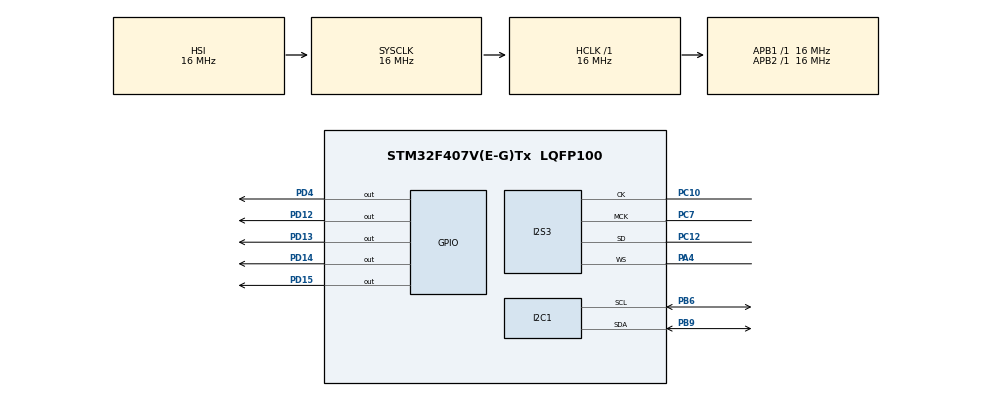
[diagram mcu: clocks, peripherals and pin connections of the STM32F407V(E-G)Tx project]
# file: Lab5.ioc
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Dma.Request0=SPI3_TX
Dma.SPI3_TX.0.Direction=DMA_MEMORY_TO_PERIPH
Dma.SPI3_TX.0.FIFOMode=DMA_FIFOMODE_ENABLE
Dma.SPI3_TX.0.FIFOThreshold=DMA_FIFO_THRESHOLD_FULL
Dma.SPI3_TX.0.Instance=DMA1_Stream5
Dma.SPI3_TX.0.MemBurst=DMA_MBURST_SINGLE
Dma.SPI3_TX.0.MemDataAlignment=DMA_MDATAALIGN_HALFWORD
Dma.SPI3_TX.0.MemInc=DMA_MINC_ENABLE
Dma.SPI3_TX.0.Mode=DMA_CIRCULAR
Dma.SPI3_TX.0.PeriphBurst=DMA_PBURST_SINGLE
Dma.SPI3_TX.0.PeriphDataAlignment=DMA_PDATAALIGN_HALFWORD
Dma.SPI3_TX.0.PeriphInc=DMA_PINC_DISABLE
Dma.SPI3_TX.0.Priority=DMA_PRIORITY_LOW
I2S3.AudioFreq=I2S_AUDIOFREQ_48K
I2S3.ErrorAudioFreq=-2.34 %
I2S3.FullDuplexMode=I2S_FULLDUPLEXMODE_DISABLE
I2S3.Instance=SPI$Index
I2S3.RealAudioFreq=46.875 KHz
I2S3.VirtualMode=I2S_MODE_MASTER
Mcu.Family=STM32F4
Mcu.Name=STM32F407V(E-G)Tx
Mcu.Package=LQFP100
NVIC.DMA1_Stream5_IRQn=true\:0\:0\:false\:false\:true\:false\:true\:true
NVIC.PriorityGroup=NVIC_PRIORITYGROUP_4
PA4.Mode=Half_Duplex_Master
PA4.Signal=I2S3_WS
PB6.Mode=I2C
PB6.Signal=I2C1_SCL
PB9.Mode=I2C
PB9.Signal=I2C1_SDA
PC10.Mode=Half_Duplex_Master
PC10.Signal=I2S3_CK
PC12.Mode=Half_Duplex_Master
PC12.Signal=I2S3_SD
PC7.Mode=Master_Clock_Activated
PC7.Signal=I2S3_MCK
PD12.Signal=GPIO_Output
PD13.Signal=GPIO_Output
PD14.Signal=GPIO_Output
PD15.Signal=GPIO_Output
PD4.Signal=GPIO_Output
ProjectManager.HeapSize=0x200
ProjectManager.StackSize=0x400
ProjectManager.TargetToolchain=STM32CubeIDE
RCC.AHBFreq_Value=16000000
RCC.APB1Freq_Value=16000000
RCC.APB2Freq_Value=16000000
RCC.CortexFreq_Value=16000000
RCC.HSE_VALUE=25000000
RCC.HSI_VALUE=16000000
RCC.LSE_VALUE=32768
RCC.SYSCLKFreq_VALUE=16000000
RCC.VCOOutputFreq_Value=192000000
board=custom

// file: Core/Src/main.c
/* USER CODE BEGIN Header */
/**
  ******************************************************************************
  * @file           : main.c
  * @brief          : Main program body
  ******************************************************************************
  * @attention
  *
  * Copyright (c) 2024 STMicroelectronics.
  * All rights reserved.
  *
  * This software is licensed under terms that can be found in the LICENSE file
  * in the root directory of this software component.
  * If no LICENSE file comes with this software, it is provided AS-IS.
  *
  ******************************************************************************
  */
/* USER CODE END Header */
#include "main.h"

/* USER CODE BEGIN PTD */
typedef enum
{
	C4,
	C5,
	D5,
	E5,
	F5,
	G5,
	A5,
	B5,
	C6,
	D6,
	E6,
	F6,
	G6,
	A6,
	B6,
	C7
} soundToneType;
/* USER CODE END PTD */

/* USER CODE BEGIN PD */
#define CS43L22_I2C_ADDRESS		0x94
#define I2C_TIMEOUT				10

#define LED1 GPIO_PIN_12
#define LED2 GPIO_PIN_13
#define LED3 GPIO_PIN_14
#define LED4 GPIO_PIN_15
/* USER CODE END PD */

I2C_HandleTypeDef hi2c1;

I2S_HandleTypeDef hi2s3;
DMA_HandleTypeDef hdma_spi3_tx;

/* USER CODE BEGIN PV */
int16_t dataI2S[100] = {0};
/* USER CODE END PV */

void SystemClock_Config(void);
static void MX_GPIO_Init(void);
static void MX_DMA_Init(void);
static void MX_I2C1_Init(void);
static void MX_I2S3_Init(void);

/* USER CODE BEGIN 0 */
void set_led(uint16_t led)
{
	HAL_GPIO_WritePin(GPIOD, led, GPIO_PIN_SET);
}

void reset_led(uint16_t led)
{
	HAL_GPIO_WritePin(GPIOD, led, GPIO_PIN_RESET);
}

void CS43L22_Init(void)
{
	// Enable chip
	HAL_GPIO_WritePin(GPIOD, GPIO_PIN_4, GPIO_PIN_SET);

	//
	// Initialization
	//
	uint8_t TxBuffer[2];

	TxBuffer[0] = 0x0D;
	TxBuffer[1] = 0x01;
	HAL_I2C_Master_Transmit(&hi2c1, CS43L22_I2C_ADDRESS, (uint8_t*) &TxBuffer, 2, I2C_TIMEOUT);

	TxBuffer[0] = 0x00;
	TxBuffer[1] = 0x99;
	HAL_I2C_Master_Transmit(&hi2c1, CS43L22_I2C_ADDRESS, (uint8_t*) &TxBuffer, 2, I2C_TIMEOUT);

	TxBuffer[0] = 0x47;
	TxBuffer[1] = 0x80;
	HAL_I2C_Master_Transmit(&hi2c1, CS43L22_I2C_ADDRESS, (uint8_t*) &TxBuffer, 2, I2C_TIMEOUT);

	TxBuffer[0] = 0x32;
	TxBuffer[1] = 0xFF;
	HAL_I2C_Master_Transmit(&hi2c1, CS43L22_I2C_ADDRESS, (uint8_t*) &TxBuffer, 2, I2C_TIMEOUT);

	TxBuffer[0] = 0x32;
	TxBuffer[1] = 0x7F;
	HAL_I2C_Master_Transmit(&hi2c1, CS43L22_I2C_ADDRESS, (uint8_t*) &TxBuffer, 2, I2C_TIMEOUT);

	TxBuffer[0] = 0x00;
	TxBuffer[1] = 0x00;
	HAL_I2C_Master_Transmit(&hi2c1, CS43L22_I2C_ADDRESS, (uint8_t*) &TxBuffer, 2, I2C_TIMEOUT);

	TxBuffer[0] = 0x04;
	TxBuffer[1] = 0xAF;
	HAL_I2C_Master_Transmit(&hi2c1, CS43L22_I2C_ADDRESS, (uint8_t*) &TxBuffer, 2, I2C_TIMEOUT);

	TxBuffer[0] = 0x0D;
	TxBuffer[1] = 0x70;
	HAL_I2C_Master_Transmit(&hi2c1, CS43L22_I2C_ADDRESS, (uint8_t*) &TxBuffer, 2, I2C_TIMEOUT);

	TxBuffer[0] = 0x05;
	TxBuffer[1] = 0x81;
	HAL_I2C_Master_Transmit(&hi2c1, CS43L22_I2C_ADDRESS, (uint8_t*) &TxBuffer, 2, I2C_TIMEOUT);

	TxBuffer[0] = 0x06;
	TxBuffer[1] = 0x07;
	HAL_I2C_Master_Transmit(&hi2c1, CS43L22_I2C_ADDRESS, (uint8_t*) &TxBuffer, 2, I2C_TIMEOUT);

	TxBuffer[0] = 0x0A;
	TxBuffer[1] = 0x00;
	HAL_I2C_Master_Transmit(&hi2c1, CS43L22_I2C_ADDRESS, (uint8_t*) &TxBuffer, 2, I2C_TIMEOUT);

	TxBuffer[0] = 0x27;
	TxBuffer[1] = 0x00;
	HAL_I2C_Master_Transmit(&hi2c1, CS43L22_I2C_ADDRESS, (uint8_t*) &TxBuffer, 2, I2C_TIMEOUT);

	TxBuffer[0] = 0x1A;
	TxBuffer[1] = 0x0A;
	HAL_I2C_Master_Transmit(&hi2c1, CS43L22_I2C_ADDRESS, (uint8_t*) &TxBuffer, 2, I2C_TIMEOUT);

	TxBuffer[0] = 0x1B;
	TxBuffer[1] = 0x0A;
	HAL_I2C_Master_Transmit(&hi2c1, CS43L22_I2C_ADDRESS, (uint8_t*) &TxBuffer, 2, I2C_TIMEOUT);

	TxBuffer[0] = 0x1F;
	TxBuffer[1] = 0x0F;
	HAL_I2C_Master_Transmit(&hi2c1, CS43L22_I2C_ADDRESS, (uint8_t*) &TxBuffer, 2, I2C_TIMEOUT);

	TxBuffer[0] = 0x02;
	TxBuffer[1] = 0x9E;
	HAL_I2C_Master_Transmit(&hi2c1, CS43L22_I2C_ADDRESS, (uint8_t*) &TxBuffer, 2, I2C_TIMEOUT);
}

void CS43L22_Beep(soundToneType pitch, uint32_t duration_ms)
{
	uint8_t TxBuffer[2];

	// Set volume and off time
	TxBuffer[0] = 0x1D;		// Register address
	TxBuffer[1] = 0x00;		// Value (volume and off time)
	HAL_I2C_Master_Transmit(&hi2c1, CS43L22_I2C_ADDRESS, (uint8_t*) &TxBuffer, 2, I2C_TIMEOUT);

	// Set sound frequency
	TxBuffer[0] = 0x1C;		// Register address
	switch (pitch)
	{
		case C4:
			TxBuffer[1] = 0x00;		// Value (frequency and on time)
			break;
		case C5:
			TxBuffer[1] = 0x01;
			break;
		case D5:
			TxBuffer[1] = 0x02;
			break;
		case E5:
			TxBuffer[1] = 0x03;		// Value (frequency and on time)
			break;
		case F5:
			TxBuffer[1] = 0x04;
			break;
		case G5:
			TxBuffer[1] = 0x05;
			break;
		case A5:
			TxBuffer[1] = 0x06;		// Value (frequency and on time)
			break;
		case B5:
			TxBuffer[1] = 0x07;
			break;
		case C6:
			TxBuffer[1] = 0x08;
			break;
		case D6:
			TxBuffer[1] = 0x09;		// Value (frequency and on time)
			break;
		case E6:
			TxBuffer[1] = 0x0A;
			break;
		case F6:
			TxBuffer[1] = 0x0B;
			break;
		case G6:
			TxBuffer[1] = 0x0C;
			break;
		case A6:
			TxBuffer[1] = 0x0D;		// Value (frequency and on time)
			break;
		case B6:
			TxBuffer[1] = 0x0E;
			break;
		case C7:
			TxBuffer[1] = 0x0F;
			break;
	}
	HAL_I2C_Master_Transmit(&hi2c1, CS43L22_I2C_ADDRESS, (uint8_t*) &TxBuffer, 2, I2C_TIMEOUT);

	// Enable continuous mode (SOUND STARTED)
	TxBuffer[0] = 0x1E;		// Register address
	TxBuffer[1] = 0xC0;		// Value (beep and tone configuration)
	HAL_I2C_Master_Transmit(&hi2c1, CS43L22_I2C_ADDRESS, (uint8_t*) &TxBuffer, 2, I2C_TIMEOUT);

	// Playing...
	HAL_Delay(duration_ms);

	// Disable continuous mode (SOUND STOPED)
	TxBuffer[0] = 0x1E;		// Register address
	TxBuffer[1] = 0x00;		// Value (beep and tone configuration)
	HAL_I2C_Master_Transmit(&hi2c1, CS43L22_I2C_ADDRESS, (uint8_t*) &TxBuffer, 2, I2C_TIMEOUT);
}
/* USER CODE END 0 */

int main(void)
{

  /* USER CODE BEGIN 1 */
	uint16_t leds[] = {LED1, LED2, LED3, LED4};
	soundToneType melody[] = {
			E5, E5, E5, E5, E5, E5, E5, G5, C5, D5, E5,
			F5, F5, F5, F5, F5, E5, E5, E5, E5, E5, D5, D5, E5, D5, G5
	};

	uint16_t noteDurations[] = {
	    200, 200, 400, 200, 200, 400, 200, 200, 200, 200, 400,
	    200, 200, 200, 200, 400, 200, 200, 200, 200, 200, 200, 200, 200, 200, 400
	};
  /* USER CODE END 1 */

  /* MCU Configuration--------------------------------------------------------*/

  /* Reset of all peripherals, Initializes the Flash interface and the Systick. */
  HAL_Init();

  /* Configure the system clock */
  SystemClock_Config();

  /* Initialize all configured peripherals */
  MX_GPIO_Init();
  MX_DMA_Init();
  MX_I2C1_Init();
  MX_I2S3_Init();
  /* USER CODE BEGIN 2 */
  CS43L22_Init();

  HAL_I2S_Transmit_DMA(&hi2s3, (uint16_t *)dataI2S, 100);
  /* USER CODE END 2 */

  /* Infinite loop */
  /* USER CODE BEGIN WHILE */
  while (1)
  {
	  int l = 0;
	  for(int n = 0; n<sizeof(melody)/sizeof(melody[0]); n++){
		  l = l>3 ? 0 : l;

		  set_led(leds[l]);
		  CS43L22_Beep(melody[n], noteDurations[n]);
		  HAL_Delay(noteDurations[n]);
		  reset_led(leds[l]);
		  l++;
	  }

	  set_led(LED1);
	  set_led(LED3);
	  set_led(LED2);
	  set_led(LED4);

	  HAL_Delay(1000);
	  reset_led(LED1);
	  reset_led(LED3);
	  reset_led(LED2);
	  reset_led(LED4);

    /* USER CODE END WHILE */

  }
}

void SystemClock_Config(void)
{
  RCC_OscInitTypeDef RCC_OscInitStruct = {0};
  RCC_ClkInitTypeDef RCC_ClkInitStruct = {0};

  /** Macro to configure the PLL multiplication factor
  */
  __HAL_RCC_PLL_PLLM_CONFIG(16);

  /** Macro to configure the PLL clock source
  */
  __HAL_RCC_PLL_PLLSOURCE_CONFIG(RCC_PLLSOURCE_HSI);

  /** Configure the main internal regulator output voltage
  */
  __HAL_RCC_PWR_CLK_ENABLE();
  __HAL_PWR_VOLTAGESCALING_CONFIG(PWR_REGULATOR_VOLTAGE_SCALE1);

  /** Initializes the RCC Oscillators according to the specified parameters
  * in the RCC_OscInitTypeDef structure.
  */
  RCC_OscInitStruct.OscillatorType = RCC_OSCILLATORTYPE_HSI;
  RCC_OscInitStruct.HSIState = RCC_HSI_ON;
  RCC_OscInitStruct.HSICalibrationValue = RCC_HSICALIBRATION_DEFAULT;
  RCC_OscInitStruct.PLL.PLLState = RCC_PLL_NONE;
  RCC_OscInitStruct.PLL.PLLSource = RCC_PLLSOURCE_HSI;
  if (HAL_RCC_OscConfig(&RCC_OscInitStruct) != HAL_OK)
  {
    Error_Handler();
  }

  /** Initializes the CPU, AHB and APB buses clocks
  */
  RCC_ClkInitStruct.ClockType = RCC_CLOCKTYPE_HCLK|RCC_CLOCKTYPE_SYSCLK
                              |RCC_CLOCKTYPE_PCLK1|RCC_CLOCKTYPE_PCLK2;
  RCC_ClkInitStruct.SYSCLKSource = RCC_SYSCLKSOURCE_HSI;
  RCC_ClkInitStruct.AHBCLKDivider = RCC_SYSCLK_DIV1;
  RCC_ClkInitStruct.APB1CLKDivider = RCC_HCLK_DIV1;
  RCC_ClkInitStruct.APB2CLKDivider = RCC_HCLK_DIV1;

  if (HAL_RCC_ClockConfig(&RCC_ClkInitStruct, FLASH_LATENCY_0) != HAL_OK)
  {
    Error_Handler();
  }
}

static void MX_I2C1_Init(void)
{

  hi2c1.Instance = I2C1;
  hi2c1.Init.ClockSpeed = 100000;
  hi2c1.Init.DutyCycle = I2C_DUTYCYCLE_2;
  hi2c1.Init.OwnAddress1 = 0;
  hi2c1.Init.AddressingMode = I2C_ADDRESSINGMODE_7BIT;
  hi2c1.Init.DualAddressMode = I2C_DUALADDRESS_DISABLE;
  hi2c1.Init.OwnAddress2 = 0;
  hi2c1.Init.GeneralCallMode = I2C_GENERALCALL_DISABLE;
  hi2c1.Init.NoStretchMode = I2C_NOSTRETCH_DISABLE;
  if (HAL_I2C_Init(&hi2c1) != HAL_OK)
  {
    Error_Handler();
  }

}

static void MX_I2S3_Init(void)
{

  hi2s3.Instance = SPI3;
  hi2s3.Init.Mode = I2S_MODE_MASTER_TX;
  hi2s3.Init.Standard = I2S_STANDARD_PHILIPS;
  hi2s3.Init.DataFormat = I2S_DATAFORMAT_16B;
  hi2s3.Init.MCLKOutput = I2S_MCLKOUTPUT_ENABLE;
  hi2s3.Init.AudioFreq = I2S_AUDIOFREQ_48K;
  hi2s3.Init.CPOL = I2S_CPOL_LOW;
  hi2s3.Init.ClockSource = I2S_CLOCK_PLL;
  hi2s3.Init.FullDuplexMode = I2S_FULLDUPLEXMODE_DISABLE;
  if (HAL_I2S_Init(&hi2s3) != HAL_OK)
  {
    Error_Handler();
  }

}

static void MX_DMA_Init(void)
{

  /* DMA controller clock enable */
  __HAL_RCC_DMA1_CLK_ENABLE();

  /* DMA interrupt init */
  /* DMA1_Stream5_IRQn interrupt configuration */
  HAL_NVIC_SetPriority(DMA1_Stream5_IRQn, 0, 0);
  HAL_NVIC_EnableIRQ(DMA1_Stream5_IRQn);

}

static void MX_GPIO_Init(void)
{
  GPIO_InitTypeDef GPIO_InitStruct = {0};

  /* GPIO Ports Clock Enable */
  __HAL_RCC_GPIOA_CLK_ENABLE();
  __HAL_RCC_GPIOD_CLK_ENABLE();
  __HAL_RCC_GPIOC_CLK_ENABLE();
  __HAL_RCC_GPIOB_CLK_ENABLE();

  /*Configure GPIO pin Output Level */
  HAL_GPIO_WritePin(GPIOD, GPIO_PIN_12|GPIO_PIN_13|GPIO_PIN_14|GPIO_PIN_15
                          |GPIO_PIN_4, GPIO_PIN_RESET);

  /*Configure GPIO pins : PD12 PD13 PD14 PD15
                           PD4 */
  GPIO_InitStruct.Pin = GPIO_PIN_12|GPIO_PIN_13|GPIO_PIN_14|GPIO_PIN_15
                          |GPIO_PIN_4;
  GPIO_InitStruct.Mode = GPIO_MODE_OUTPUT_PP;
  GPIO_InitStruct.Pull = GPIO_NOPULL;
  GPIO_InitStruct.Speed = GPIO_SPEED_FREQ_LOW;
  HAL_GPIO_Init(GPIOD, &GPIO_InitStruct);

}

void Error_Handler(void)
{
  __disable_irq();
  while (1)
  {
  }
}
